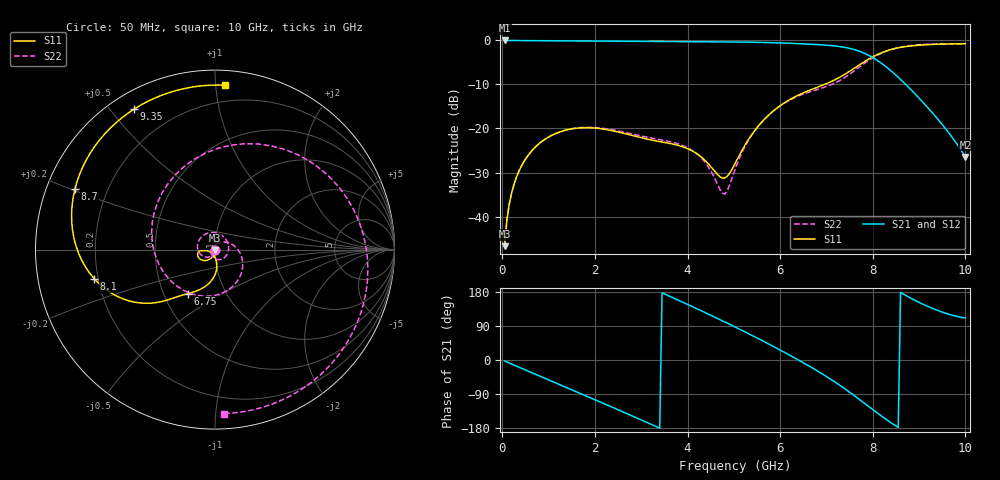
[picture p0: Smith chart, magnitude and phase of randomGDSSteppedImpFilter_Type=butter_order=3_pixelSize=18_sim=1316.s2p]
! freq	dB(S11)	phase(S11)	dB(S12)	phase(S12)
!  dB(S21)	phase(S21)	dB(S22)	phase(S22)
!S-par simulation data
#  GHz  S  DB  R 50
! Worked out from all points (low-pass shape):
!   200 points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, 50 MHz to 10 GHz, reference 50 ohm
!   highest |S21| = 0.00 dB at 50 MHz (marker M1); lowest = -26.5 dB at 10 GHz (marker M2)
!   |S21| within 3 dB of the highest: start of sweep to 7.838 GHz
!   lowest |S11| = -46.7 dB at 50 MHz (marker M3), VSWR 1.01, Z = 50 - j0.461 ohm
!   |S11| at or under -10 dB: start of sweep to 6.956 GHz
!   |S22| runs from -46.7 to -0.7 dB; largest |S21 - S12| = 0
!   S11 on the Smith chart (normalised r, x): 50 MHz: 1.00, -0.01; 6.75 GHz: 0.66, -0.35; 8.1 GHz: 0.18, -0.12; 8.7 GHz: 0.08, +0.20; 9.35 GHz: 0.07, +0.58; 10 GHz: 0.09, +1.06
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0.05  -46.72 -91.1  -0.00 -2.7  -0.00 -2.7  -46.73 -92.3
0.1  -40.71 -93.5  -0.01 -5.3  -0.01 -5.3  -40.72 -95.9
0.2  -34.70 -97.8  -0.02 -10.6  -0.02 -10.6  -34.72 -102.6
0.5  -26.96 -110.4  -0.04 -26.3  -0.04 -26.3  -26.99 -122.3
1.15  -21.15 -136.3  -0.10 -60.2  -0.10 -60.2  -21.14 -166.0
1.75  -19.82 -156.6  -0.15 -91.6  -0.15 -91.6  -19.75 150.9
2.5  -20.79 -173.0  -0.19 -131.2  -0.19 -131.2  -20.55 88.2
3.4  -22.97 -174.6  -0.25 -180.0  -0.25 -180.0  -22.51 -4.2
4.2  -25.72 -173.6  -0.30 135.4  -0.30 135.4  -25.74 -88.0
4.8  -31.25 -126.8  -0.33 100.7  -0.33 100.7  -34.89 147.2
5.05  -27.48 -91.1  -0.36 85.8  -0.36 85.8  -28.60 70.4
5.45  -20.49 -83.5  -0.41 61.3  -0.41 61.3  -20.54 20.3
5.95  -15.22 -96.5  -0.55 29.5  -0.55 29.5  -15.23 -26.8
6.7  -11.05 -120.1  -0.88 -21.3  -0.88 -21.3  -11.48 -103.7
6.75  -10.85 -121.4  -0.91 -24.9  -0.91 -24.9  -11.31 -109.8
7.45  -7.34 -137.0  -1.69 -80.6  -1.69 -80.6  -8.04 148.8
7.8  -4.94 -150.1  -2.83 -112.5  -2.83 -112.5  -5.34 95.6
8.1  -3.20 -166.4  -4.55 -140.3  -4.55 -140.3  -3.35 55.2
8.35  -2.20 178.2  -6.52 -162.0  -6.52 -162.0  -2.22 26.3
8.7  -1.41 156.7  -9.88 171.2  -9.88 171.2  -1.33 -7.0
9.35  -0.88 119.9  -17.20 133.2  -17.20 133.2  -0.79 -52.7
10  -0.75 86.5  -26.47 111.1  -26.47 111.1  -0.77 -86.7
